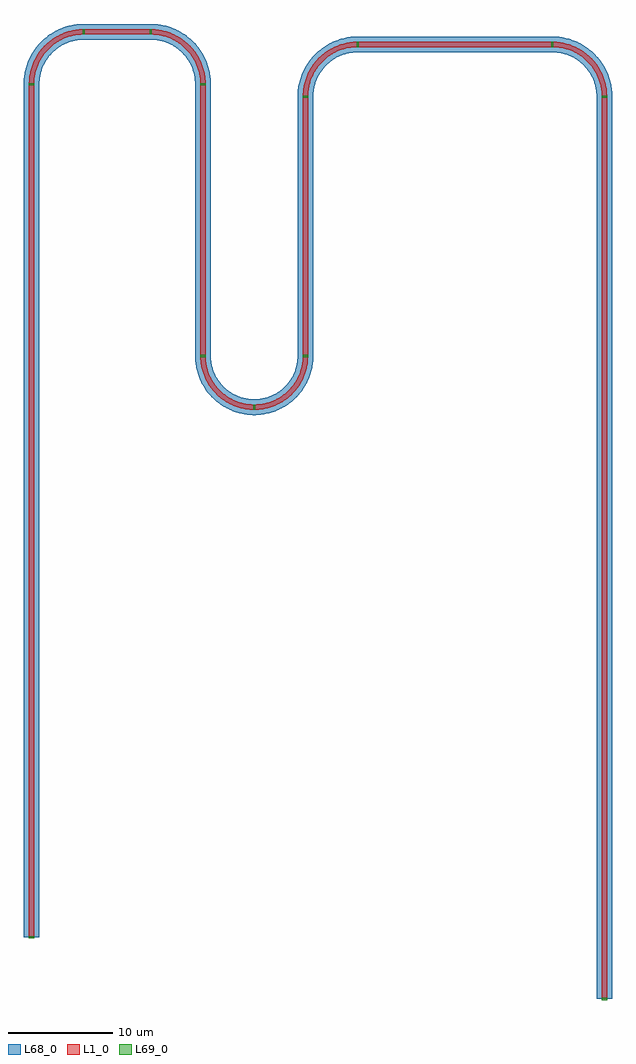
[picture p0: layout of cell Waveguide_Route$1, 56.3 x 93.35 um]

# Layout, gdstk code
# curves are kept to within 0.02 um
from math import pi, radians
import gdstk
lib = gdstk.Library(unit=1e-6, precision=1e-09)
def R(c, l, rs):  # rectangles x0, y0, x1, y1
    for r in rs: c.add(gdstk.rectangle(r[:2], r[2:], *l))
def P(c, l, *ps):  # polygons
    for p in ps: c.add(gdstk.Polygon(p, *l))
L1_0 = (1, 0)
L68_0 = (68, 0)
L69_0 = (69, 0)

waveguide_bend_1 = lib.new_cell('Waveguide_Bend$1')
P(waveguide_bend_1, L1_0, [(-5,-0.25),(-5,0.25),(-4.594,0.267),(-4.057,0.345),(-3.532,0.482),(-3.151,0.625),(-2.432,1.004),(-2.099,1.238),(-1.69,1.594),(-1.41,1.889),(-1.079,2.319),(-0.799,2.783),(-0.625,3.151),(-0.482,3.532),(-0.345,4.057),(-0.267,4.594),(-0.25,5),(0.25,5),(0.231,4.551),(0.145,3.957),(-0.007,3.378),(-0.164,2.956),(-0.583,2.162),(-0.843,1.794),(-1.235,1.341),(-1.562,1.032),(-2.037,0.666),(-2.418,0.429),(-2.956,0.164),(-3.378,0.007),(-3.957,-0.145),(-4.402,-0.216)])
P(waveguide_bend_1, L68_0, [(-5,-0.75),(-5,0.75),(-4.516,0.778),(-4.156,0.835),(-3.803,0.922),(-3.346,1.085),(-2.702,1.425),(-2.405,1.634),(-2.038,1.952),(-1.788,2.217),(-1.492,2.601),(-1.299,2.91),(-1.085,3.346),(-0.922,3.803),(-0.835,4.156),(-0.778,4.516),(-0.75,5),(0.75,5),(0.729,4.508),(0.666,4.019),(0.517,3.38),(0.358,2.914),(0.16,2.463),(-0.163,1.891),(-0.549,1.36),(-0.876,0.993),(-1.235,0.654),(-1.754,0.254),(-2.173,-0.007),(-2.762,-0.296),(-3.223,-0.469),(-3.858,-0.635),(-4.345,-0.713)])
waveguide_bend_1.add(gdstk.FlexPath([(0,5.1),(0,4.9)], 0.5, ends="flush", simple_path=True, layer=69, datatype=0))  # L69_0
waveguide_bend_1.add(gdstk.FlexPath([(-4.9,0),(-5.1,0)], 0.5, ends="flush", simple_path=True, layer=69, datatype=0))  # L69_0
waveguide_bend_1.add(gdstk.Label('pin2', (0,5), layer=69, texttype=0))
waveguide_bend_1.add(gdstk.Label('pin1', (-5,0), layer=69, texttype=0))
waveguide_bend_1.add(gdstk.Label('Lumerical_INTERCONNECT_library=Design kits/ebeam_v1.1', (-4.5,0), layer=68, texttype=0))
waveguide_bend_1.add(gdstk.Label('Lumerical_INTERCONNECT_component=ebeam_bend_1550', (-4.5,1.25), layer=68, texttype=0))
waveguide_bend_1.add(gdstk.Label('Spice_param:radius=5.000 wg_width=0.500', (-4.5,2.5), layer=68, texttype=0))

waveguide_bend = lib.new_cell('Waveguide_Bend')
P(waveguide_bend, L1_0, [(-4.9,-0.25),(-4.9,0.25),(-4.107,0.318),(-3.59,0.438),(-3.213,0.567),(-2.73,0.787),(-2.386,0.988),(-1.956,1.3),(-1.659,1.565),(-1.3,1.956),(-1.062,2.275),(-0.787,2.73),(-0.617,3.09),(-0.438,3.59),(-0.343,3.977),(-0.28,4.37),(-0.25,4.9),(0.25,4.9),(0.231,4.459),(0.147,3.877),(-0.002,3.309),(-0.156,2.895),(-0.345,2.497),(-0.649,1.993),(-1.207,1.311),(-1.527,1.008),(-1.993,0.649),(-2.497,0.345),(-2.895,0.156),(-3.309,0.002),(-3.877,-0.147),(-4.459,-0.231)])
P(waveguide_bend, L68_0, [(-4.9,-0.75),(-4.9,0.75),(-4.545,0.765),(-4.076,0.833),(-3.731,0.918),(-3.285,1.077),(-2.859,1.286),(-2.558,1.474),(-2.008,1.924),(-1.687,2.273),(-1.474,2.558),(-1.286,2.859),(-1.077,3.285),(-0.918,3.731),(-0.833,4.076),(-0.765,4.545),(-0.75,4.9),(0.75,4.9),(0.729,4.417),(0.667,3.937),(0.521,3.308),(0.365,2.85),(0.097,2.263),(-0.147,1.845),(-0.526,1.323),(-0.848,0.962),(-1.323,0.526),(-1.711,0.236),(-2.263,-0.097),(-2.701,-0.304),(-3.308,-0.521),(-3.778,-0.637),(-4.256,-0.713)])
waveguide_bend.add(gdstk.FlexPath([(0,5),(0,4.8)], 0.5, ends="flush", simple_path=True, layer=69, datatype=0))  # L69_0
waveguide_bend.add(gdstk.FlexPath([(-4.8,0),(-5,0)], 0.5, ends="flush", simple_path=True, layer=69, datatype=0))  # L69_0
waveguide_bend.add(gdstk.Label('pin2', (0,4.9), layer=69, texttype=0))
waveguide_bend.add(gdstk.Label('pin1', (-4.9,0), layer=69, texttype=0))
waveguide_bend.add(gdstk.Label('Lumerical_INTERCONNECT_library=Design kits/ebeam_v1.1', (-4.41,0), layer=68, texttype=0))
waveguide_bend.add(gdstk.Label('Lumerical_INTERCONNECT_component=ebeam_bend_1550', (-4.41,1.225), layer=68, texttype=0))
waveguide_bend.add(gdstk.Label('Spice_param:radius=4.900 wg_width=0.500', (-4.41,2.45), layer=68, texttype=0))

waveguide_straight_13 = lib.new_cell('Waveguide_Straight$13')
R(waveguide_straight_13, L1_0, [(-3.2,-0.25,3.2,0.25)])
R(waveguide_straight_13, L68_0, [(-3.2,-0.75,3.2,0.75)])
waveguide_straight_13.add(gdstk.FlexPath([(-3.3,0),(-3.1,0)], 0.5, ends="flush", simple_path=True, layer=69, datatype=0))  # L69_0
waveguide_straight_13.add(gdstk.FlexPath([(3.1,0),(3.3,0)], 0.5, ends="flush", simple_path=True, layer=69, datatype=0))  # L69_0
waveguide_straight_13.add(gdstk.Label('pin1', (-3.2,0), layer=69, texttype=0))
waveguide_straight_13.add(gdstk.Label('pin2', (3.2,0), layer=69, texttype=0))
waveguide_straight_13.add(gdstk.Label('Lumerical_INTERCONNECT_library=Design kits/ebeam_v1.0', (0,0), layer=68, texttype=0))
waveguide_straight_13.add(gdstk.Label('Lumerical_INTERCONNECT_component=ebeam_wg_strip_1550', (0.64,0), layer=68, texttype=0))
waveguide_straight_13.add(gdstk.Label('Spice_param:wg_width=0.500 wg_length=6.400', (0.711,0), layer=68, texttype=0))

waveguide_straight_14 = lib.new_cell('Waveguide_Straight$14')
R(waveguide_straight_14, L1_0, [(-40.8,-0.25,40.8,0.25)])
R(waveguide_straight_14, L68_0, [(-40.8,-0.75,40.8,0.75)])
waveguide_straight_14.add(gdstk.FlexPath([(-40.9,0),(-40.7,0)], 0.5, ends="flush", simple_path=True, layer=69, datatype=0))  # L69_0
waveguide_straight_14.add(gdstk.FlexPath([(40.7,0),(40.9,0)], 0.5, ends="flush", simple_path=True, layer=69, datatype=0))  # L69_0
waveguide_straight_14.add(gdstk.Label('pin1', (-40.8,0), layer=69, texttype=0))
waveguide_straight_14.add(gdstk.Label('pin2', (40.8,0), layer=69, texttype=0))
waveguide_straight_14.add(gdstk.Label('Lumerical_INTERCONNECT_library=Design kits/ebeam_v1.0', (0,0), layer=68, texttype=0))
waveguide_straight_14.add(gdstk.Label('Lumerical_INTERCONNECT_component=ebeam_wg_strip_1550', (8.16,0), layer=68, texttype=0))
waveguide_straight_14.add(gdstk.Label('Spice_param:wg_width=0.500 wg_length=81.600', (9.066,0), layer=68, texttype=0))

waveguide_straight_5 = lib.new_cell('Waveguide_Straight$5')
R(waveguide_straight_5, L1_0, [(-13,-0.25,13,0.25)])
R(waveguide_straight_5, L68_0, [(-13,-0.75,13,0.75)])
waveguide_straight_5.add(gdstk.FlexPath([(-13.1,0),(-12.9,0)], 0.5, ends="flush", simple_path=True, layer=69, datatype=0))  # L69_0
waveguide_straight_5.add(gdstk.FlexPath([(12.9,0),(13.1,0)], 0.5, ends="flush", simple_path=True, layer=69, datatype=0))  # L69_0
waveguide_straight_5.add(gdstk.Label('pin1', (-13,0), layer=69, texttype=0))
waveguide_straight_5.add(gdstk.Label('pin2', (13,0), layer=69, texttype=0))
waveguide_straight_5.add(gdstk.Label('Lumerical_INTERCONNECT_library=Design kits/ebeam_v1.0', (0,0), layer=68, texttype=0))
waveguide_straight_5.add(gdstk.Label('Lumerical_INTERCONNECT_component=ebeam_wg_strip_1550', (2.6,0), layer=68, texttype=0))
waveguide_straight_5.add(gdstk.Label('Spice_param:wg_width=0.500 wg_length=26.000', (2.888,0), layer=68, texttype=0))

waveguide_straight_6 = lib.new_cell('Waveguide_Straight$6')
R(waveguide_straight_6, L1_0, [(-12.4,-0.25,12.4,0.25)])
R(waveguide_straight_6, L68_0, [(-12.4,-0.75,12.4,0.75)])
waveguide_straight_6.add(gdstk.FlexPath([(-12.5,0),(-12.3,0)], 0.5, ends="flush", simple_path=True, layer=69, datatype=0))  # L69_0
waveguide_straight_6.add(gdstk.FlexPath([(12.3,0),(12.5,0)], 0.5, ends="flush", simple_path=True, layer=69, datatype=0))  # L69_0
waveguide_straight_6.add(gdstk.Label('pin1', (-12.4,0), layer=69, texttype=0))
waveguide_straight_6.add(gdstk.Label('pin2', (12.4,0), layer=69, texttype=0))
waveguide_straight_6.add(gdstk.Label('Lumerical_INTERCONNECT_library=Design kits/ebeam_v1.0', (0,0), layer=68, texttype=0))
waveguide_straight_6.add(gdstk.Label('Lumerical_INTERCONNECT_component=ebeam_wg_strip_1550', (2.48,0), layer=68, texttype=0))
waveguide_straight_6.add(gdstk.Label('Spice_param:wg_width=0.500 wg_length=24.800', (2.755,0), layer=68, texttype=0))

waveguide_straight_7 = lib.new_cell('Waveguide_Straight$7')
R(waveguide_straight_7, L1_0, [(-9.3,-0.25,9.3,0.25)])
R(waveguide_straight_7, L68_0, [(-9.3,-0.75,9.3,0.75)])
waveguide_straight_7.add(gdstk.FlexPath([(-9.4,0),(-9.2,0)], 0.5, ends="flush", simple_path=True, layer=69, datatype=0))  # L69_0
waveguide_straight_7.add(gdstk.FlexPath([(9.2,0),(9.4,0)], 0.5, ends="flush", simple_path=True, layer=69, datatype=0))  # L69_0
waveguide_straight_7.add(gdstk.Label('pin1', (-9.3,0), layer=69, texttype=0))
waveguide_straight_7.add(gdstk.Label('pin2', (9.3,0), layer=69, texttype=0))
waveguide_straight_7.add(gdstk.Label('Lumerical_INTERCONNECT_library=Design kits/ebeam_v1.0', (0,0), layer=68, texttype=0))
waveguide_straight_7.add(gdstk.Label('Lumerical_INTERCONNECT_component=ebeam_wg_strip_1550', (1.86,0), layer=68, texttype=0))
waveguide_straight_7.add(gdstk.Label('Spice_param:wg_width=0.500 wg_length=18.600', (2.066,0), layer=68, texttype=0))

waveguide_straight_2 = lib.new_cell('Waveguide_Straight$2')
R(waveguide_straight_2, L1_0, [(-43.15,-0.25,43.15,0.25)])
R(waveguide_straight_2, L68_0, [(-43.15,-0.75,43.15,0.75)])
waveguide_straight_2.add(gdstk.FlexPath([(-43.25,0),(-43.05,0)], 0.5, ends="flush", simple_path=True, layer=69, datatype=0))  # L69_0
waveguide_straight_2.add(gdstk.FlexPath([(43.05,0),(43.25,0)], 0.5, ends="flush", simple_path=True, layer=69, datatype=0))  # L69_0
waveguide_straight_2.add(gdstk.Label('pin1', (-43.15,0), layer=69, texttype=0))
waveguide_straight_2.add(gdstk.Label('pin2', (43.15,0), layer=69, texttype=0))
waveguide_straight_2.add(gdstk.Label('Lumerical_INTERCONNECT_library=Design kits/ebeam_v1.0', (0,0), layer=68, texttype=0))
waveguide_straight_2.add(gdstk.Label('Lumerical_INTERCONNECT_component=ebeam_wg_strip_1550', (8.63,0), layer=68, texttype=0))
waveguide_straight_2.add(gdstk.Label('Spice_param:wg_width=0.500 wg_length=86.300', (9.588,0), layer=68, texttype=0))

waveguide_route_1 = lib.new_cell('Waveguide_Route$1')
waveguide_route_1.add(gdstk.Reference(waveguide_bend_1, (-5.6,21.4), rotation=pi/2, x_reflection=True))
waveguide_route_1.add(gdstk.Reference(waveguide_bend_1, (10.8,21.4), x_reflection=True))
waveguide_route_1.add(gdstk.Reference(waveguide_bend, (10.8,-14.5), rotation=3*pi/2))
waveguide_route_1.add(gdstk.Reference(waveguide_bend, (20.6,-14.5)))
waveguide_route_1.add(gdstk.Reference(waveguide_bend_1, (20.6,20.2), rotation=pi/2, x_reflection=True))
waveguide_route_1.add(gdstk.Reference(waveguide_bend_1, (49.2,20.2), x_reflection=True))
waveguide_route_1.add(gdstk.Reference(waveguide_straight_13, (2.6,21.4)))
waveguide_route_1.add(gdstk.Reference(waveguide_straight_14, (-5.6,-24.4), rotation=pi/2))
waveguide_route_1.add(gdstk.Reference(waveguide_straight_5, (10.8,3.4), rotation=3*pi/2))
waveguide_route_1.add(gdstk.Reference(waveguide_straight_6, (20.6,2.8), rotation=pi/2))
waveguide_route_1.add(gdstk.Reference(waveguide_straight_7, (34.9,20.2)))
waveguide_route_1.add(gdstk.Reference(waveguide_straight_2, (49.2,-27.95), rotation=3*pi/2))

lib.write_gds('Waveguide_Route_1.gds')
